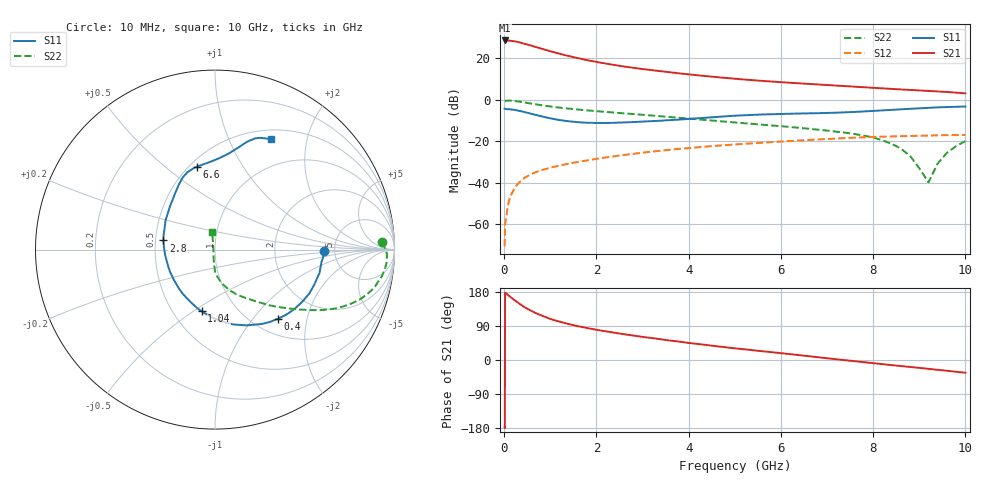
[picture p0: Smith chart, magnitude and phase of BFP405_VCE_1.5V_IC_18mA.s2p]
! Infineon Technologies  Discrete & RF Semiconductors
! BFP405
! VCE =  1.5 V,  IC =  18 mA
! Common Emitter S-Parameters:  Jan 2016
# GHz  S  MA  R  50
!  f  S11  S21  S12  S22
! GHz  MAG  ANG  MAG  ANG  MAG  ANG  MAG  ANG
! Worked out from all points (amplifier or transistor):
!   233 points, 10 MHz to 10 GHz, reference 50 ohm
!   highest |S21| = 28.6 dB at 20 MHz (marker M1)
!   |S21| within 3 dB of that: start of sweep to 663 MHz
!   unconditionally stable (mu >= 1): start of sweep to 24.34 MHz; 1.691 GHz to end of sweep
!   at 200 MHz: K = 0.27, MSG = 35.9 dB, |S12| = -43.6 dB
!   at 1.74 GHz: K = 1.02, MAG = 23.6 dB, |S12| = -29.3 dB
!   at 10 GHz: K = 1.43, MAG = 6.1 dB, |S12| = -16.9 dB
!   S11 on the Smith chart (normalised r, x): 10 MHz: 4.11, -0.11; 400 MHz: 1.27, -1.35; 1.04 GHz: 0.69, -0.54; 2.8 GHz: 0.55, +0.06; 6.6 GHz: 0.55, +0.65; 10 GHz: 0.61, +1.45
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0.01  0.6085 -0.8  26.76 -177.7  0.0003 150.4  0.9311 2.5
0.02  0.6077 -2.7  26.85 177.8  0.001 96.0  0.9484 0.3
0.05  0.5972 -6.6  26.69 175.4  0.0016 100.8  0.9582 -1.4
0.1  0.5965 -12.6  26.73 169.9  0.0035 84.3  0.9593 -4.2
0.24  0.5683 -29.8  25.49 156.5  0.0078 78.1  0.9282 -10.8
0.3  0.552 -37.1  24.67 151.2  0.0095 75.6  0.9143 -13.2
0.4  0.5206 -47.9  23.17 142.8  0.0122 71.7  0.8785 -16.8
0.5  0.4894 -57.9  21.58 135.4  0.0145 68.8  0.8424 -19.8
0.7  0.4295 -76.2  18.49 122.9  0.0184 64.4  0.7742 -24.4
0.9  0.3798 -92.1  15.89 112.8  0.0217 62.0  0.7166 -27.7
1.04  0.3514 -102.2  14.35 107.0  0.0238 60.8  0.683 -29.5
1.3  0.3138 -119.7  12.03 97.8  0.0276 59.5  0.6306 -32.3
1.68  0.2857 -142.1  9.619 87.1  0.0332 58.2  0.572 -35.6
2.18  0.2768 -166.6  7.518 76.0  0.0406 56.4  0.5139 -39.4
2.8  0.2923 169.9  5.893 64.5  0.0503 53.5  0.4548 -43.9
3.4  0.3144 151.8  4.861 54.7  0.0598 49.6  0.4011 -48.4
5.1  0.4195 118.0  3.147 29.6  0.0857 37.1  0.2779 -64.1
6.6  0.4726 102.3  2.415 10.0  0.1081 25.5  0.2017 -76.6
6.8  0.4767 99.3  2.338 7.4  0.1111 23.7  0.1915 -78.2
8.4  0.5738 78.1  1.83 -13.5  0.1316 8.6  0.0877 -93.0
9.2  0.6415 71.9  1.64 -23.4  0.1383 1.7  0.0103 160.9
10  0.6904 63.1  1.431 -33.6  0.1435 -4.4  0.1013 99.3
